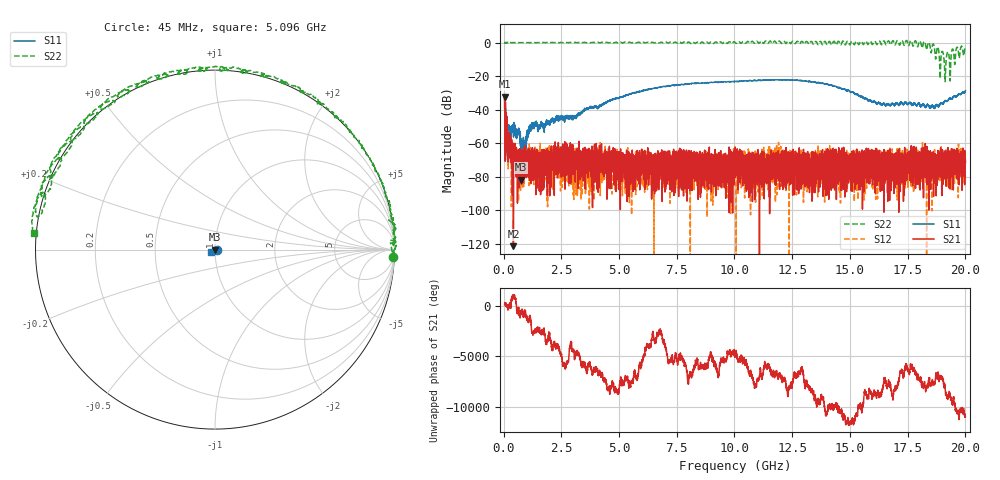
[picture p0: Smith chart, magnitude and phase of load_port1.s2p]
!Agilent Technologies,E8364A,US41440322,A.04.87.01
!Agilent E8364A: A.04.87.01
!Date: Tuesday, July 16, 2024 12:11:38
!Correction: S11(Full 2 Port SOLT,1,2) S21(Full 2 Port SOLT,1,2) S12(Full 2 Port SOLT,1,2) S22(Full 2 Port SOLT,1,2)
!S2P File: Measurements: S11, S21, S12, S22:
# Hz S  dB  R 50
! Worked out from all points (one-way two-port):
!   6401 points, 45 MHz to 20 GHz, reference 50 ohm
!   highest |S21| = -32.28 dB at 48.12 MHz (marker M1); lowest = -121.3 dB at 425.4 MHz (marker M2)
!   lowest |S11| = -81.6 dB at 768.4 MHz (marker M3), VSWR 1.00, Z = 50 + j0.00824 ohm
!   |S11| at or under -10 dB: start of sweep to end of sweep
!   |S22| runs from -23.2 to 1.3 dB; largest |S21 - S12| = 0.039
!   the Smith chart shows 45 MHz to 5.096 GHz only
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4.5e7  -38.78 -1.5  -34.25 138.7  -30.76 31.3  -0.09 -2.5
4.811797e7  -30.94 36.6  -32.28 -151.0  -33.41 178.8  0.08 1.4
1.603648e8  -49.92 35.7  -60.50 165.3  -61.38 -22.4  -0.00 5.2
4.253922e8  -52.33 -161.5  -121.31 -58.4  -74.81 -17.5  0.06 14.6
6.280602e8  -52.49 -160.2  -76.75 -145.7  -66.35 -167.0  0.03 21.5
7.683688e8  -81.60 98.1  -65.86 -90.2  -76.28 -115.1  -0.05 26.2
8.587898e8  -56.51 156.9  -83.45 -88.3  -70.25 -1.9  -0.02 28.4
1.095755e9  -51.95 106.7  -75.99 16.7  -75.01 -72.9  0.02 35.8
1.317131e9  -47.72 134.3  -75.31 -177.7  -69.78 -97.6  0.06 43.8
3.371873e9  -41.74 166.8  -72.81 -17.8  -71.35 50.2  -0.00 114.9
5.149115e9  -32.22 -154.2  -69.10 135.0  -65.81 58.0  -0.12 173.5
6.698745e9  -26.73 -139.3  -79.66 95.0  -77.42 123.0  -0.03 -132.4
8.304499e9  -24.23 -119.2  -78.80 -117.3  -79.92 50.8  -0.49 -88.4
1.00225e10  -23.24 -88.1  -71.79 13.0  -64.37 112.7  0.26 -25.6
1.163449e10  -22.13 -58.2  -71.35 63.1  -69.55 -15.2  -0.42 21.6
1.334937e10  -23.49 -34.4  -66.97 -12.6  -75.30 54.9  0.58 84.0
1.47774e10  -27.68 -9.7  -92.04 149.1  -76.29 -109.2  -0.99 130.9
1.667625e10  -36.60 89.6  -74.42 106.4  -72.09 159.6  1.08 -176.6
1.796397e10  -36.25 145.5  -71.12 -173.7  -64.71 -163.9  -0.97 -173.2
1.866863e10  -38.75 -161.4  -73.52 -121.3  -79.35 -68.6  -4.13 -118.4
1.912073e10  -34.77 -122.0  -73.97 155.2  -80.30 115.4  -23.01 65.7
2e10  -28.59 -82.4  -70.95 -176.7  -72.35 -73.3  -2.02 -52.2
